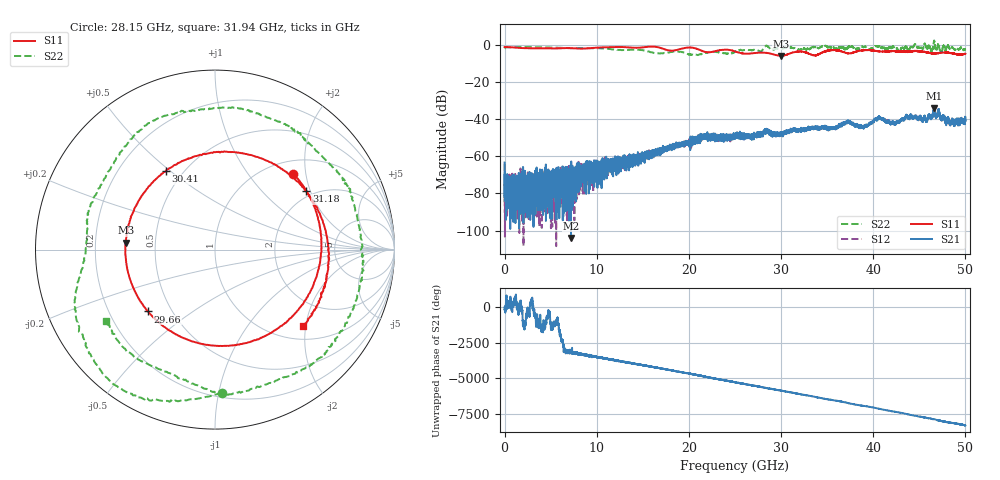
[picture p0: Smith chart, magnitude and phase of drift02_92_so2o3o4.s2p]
!Created with skrf (http://scikit-rf.org).
# Hz S RI R 50.0
!freq ReS11 ImS11 ReS21 ImS21 ReS12 ImS12 ReS22 ImS22
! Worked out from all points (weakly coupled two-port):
!   10001 points, 300 kHz to 50 GHz, reference 50 ohm
!   highest |S21| = -34.26 dB at 46.61 GHz (marker M1); lowest = -103.9 dB at 7.205 GHz (marker M2)
!   lowest |S11| = -6.1 dB at 30.01 GHz (marker M3), VSWR 2.98, Z = 16.8 + j1.74 ohm
!   |S11| at or under -10 dB: nowhere
!   |S22| runs from -5.7 to 2.2 dB; largest |S21 - S12| = 0.0035
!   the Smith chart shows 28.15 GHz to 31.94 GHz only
!   S11 on the Smith chart (normalised r, x): 28.15 GHz: 1.27, +1.70; 29.66 GHz: 0.37, -0.34; 30.41 GHz: 0.40, +0.48; 31.18 GHz: 1.82, +1.87; 31.94 GHz: 1.31, -1.93
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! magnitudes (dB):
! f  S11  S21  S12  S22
! 300 kHz  -1.3  -63.3  -64.1  -2.1
! 250.3 MHz  -1.4  -80.0  -74.9  -1.4
! 405.3 MHz  -1.4  -87.0  -73.5  -1.5
! 7.205 GHz  -1.9  -103.9  -70.4  -1.9
! 8.335 GHz  -2.2  -67.9  -73.0  -1.9
! 16.67 GHz  -1.4  -58.0  -57.8  -4.7
! 21.5 GHz  -3.5  -48.9  -50.6  -4.7
! 25 GHz  -3.7  -50.4  -49.3  -3.9
! 28.15 GHz  -4.3  -47.1  -47.2  -2.0
! 29.66 GHz  -5.9  -47.7  -48.4  -2.1
! 30.01 GHz  -6.1  -47.8  -48.0  -2.0
! 30.41 GHz  -5.7  -47.3  -46.8  -1.8
! 31.18 GHz  -4.4  -46.5  -46.5  -1.6
! 31.94 GHz  -3.8  -45.7  -45.5  -2.8
! 33.34 GHz  -5.5  -44.6  -44.9  -1.5
! 37.29 GHz  -4.7  -41.7  -41.2  -1.3
! 38.84 GHz  -3.1  -44.9  -44.4  -1.1
! 40.64 GHz  -3.7  -39.0  -39.1  -0.9
! 41.67 GHz  -3.6  -41.3  -41.2  -1.9
! 46.61 GHz  -4.7  -34.3  -34.3  2.2
! 48.12 GHz  -4.3  -41.3  -39.7  -0.6
! 50 GHz  -4.9  -40.9  -40.5  -2.7
